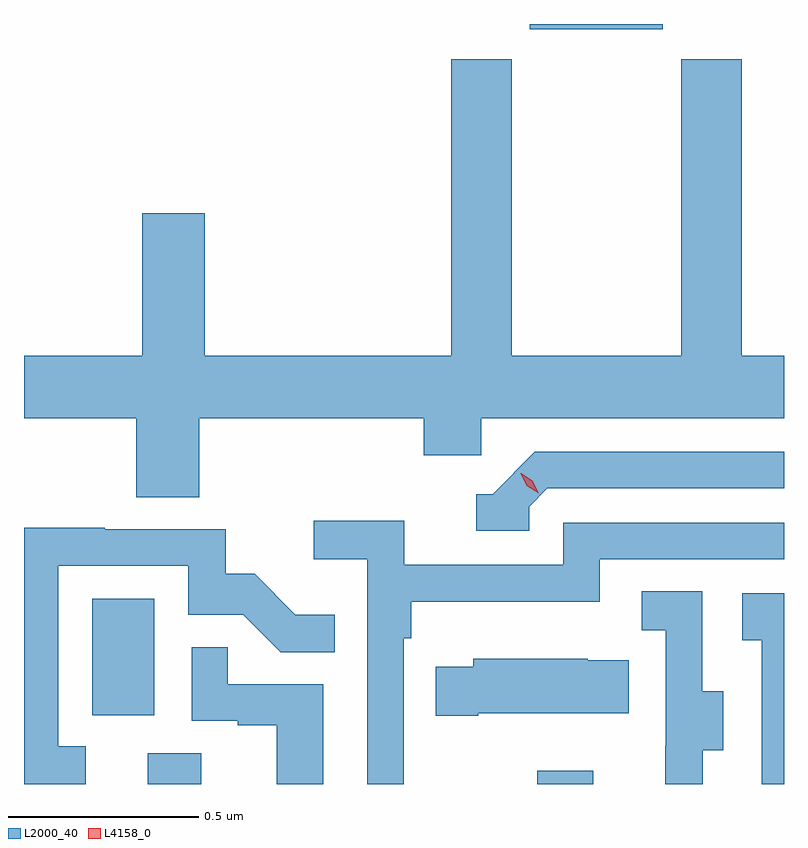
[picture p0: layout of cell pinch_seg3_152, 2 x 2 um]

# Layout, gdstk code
import gdstk
lib = gdstk.Library(unit=1e-6, precision=1e-09)
def R(c, l, rs):  # rectangles x0, y0, x1, y1
    for r in rs: c.add(gdstk.rectangle(r[:2], r[2:], *l))
def P(c, l, *ps):  # polygons
    for p in ps: c.add(gdstk.Polygon(p, *l))
L2000_40 = (2000, 40)
L4158_0 = (4158, 0)

pinch_seg3_152 = lib.new_cell('pinch_seg3_152')
R(pinch_seg3_152, L2000_40, [(1142.045,718.601,1142.185,718.682), (1143.07,718.601,1143.217,718.636), (1141.898,718.782,1142.062,719.089), (1143.05,720.587,1143.4,720.601)])
P(pinch_seg3_152, L2000_40, [(1142.18,719.564),(1142.771,719.564),(1142.771,719.466),(1142.922,719.466),(1142.922,719.564),(1143.719,719.564),(1143.719,719.728),(1143.608,719.728),(1143.608,720.508),(1143.448,720.508),(1143.448,719.728),(1143.003,719.728),(1143.003,720.508),(1142.843,720.508),(1142.843,719.728),(1142.194,719.728),(1142.194,720.103),(1142.03,720.103),(1142.03,719.728),(1141.719,719.728),(1141.719,719.564),(1142.015,719.564),(1142.015,719.356),(1142.18,719.356)],
  [(1143.048,719.331),(1143.096,719.379),(1143.719,719.379),(1143.719,719.475),(1143.063,719.475),(1142.952,719.364),(1142.909,719.364),(1142.909,719.268),(1143.048,719.268)],
  [(1142.718,718.985),(1142.738,718.985),(1142.738,719.081),(1143.234,719.081),(1143.234,719.193),(1143.719,719.193),(1143.719,719.289),(1143.138,719.289),(1143.138,719.178),(1142.72,719.178),(1142.72,719.294),(1142.481,719.294),(1142.481,719.192),(1142.622,719.192),(1142.622,718.601),(1142.718,718.601)],
  [(1141.882,718.701),(1141.809,718.701),(1141.809,719.175),(1142.151,719.175),(1142.151,719.046),(1142.296,719.046),(1142.394,718.948),(1142.537,718.948),(1142.537,719.047),(1142.433,719.047),(1142.326,719.154),(1142.25,719.154),(1142.25,719.271),(1141.931,719.271),(1141.931,719.276),(1141.719,719.276),(1141.719,718.601),(1141.882,718.601)],
  [(1143.505,718.69),(1143.559,718.69),(1143.559,718.845),(1143.504,718.845),(1143.504,719.108),(1143.345,719.108),(1143.345,719.005),(1143.408,719.005),(1143.408,718.701),(1143.407,718.701),(1143.407,718.601),(1143.505,718.601)],
  [(1143.719,719.103),(1143.609,719.103),(1143.609,718.979),(1143.66,718.979),(1143.66,718.601),(1143.719,718.601)],
  [(1142.506,718.863),(1142.255,718.863),(1142.255,718.961),(1142.16,718.961),(1142.16,718.767),(1142.281,718.767),(1142.281,718.755),(1142.384,718.755),(1142.384,718.601),(1142.506,718.601)],
  [(1142.914,718.787),(1143.311,718.787),(1143.311,718.927),(1143.203,718.927),(1143.203,718.93),(1142.901,718.93),(1142.901,718.909),(1142.803,718.909),(1142.803,718.78),(1142.914,718.78)])
P(pinch_seg3_152, L4158_0, [(1143.073,719.366),(1143.042,719.386),(1143.026,719.418),(1143.026,719.419),(1143.027,719.419),(1143.057,719.399),(1143.073,719.366),(1143.073,719.366)])

lib.write_gds('pinch_seg3_152.gds')
